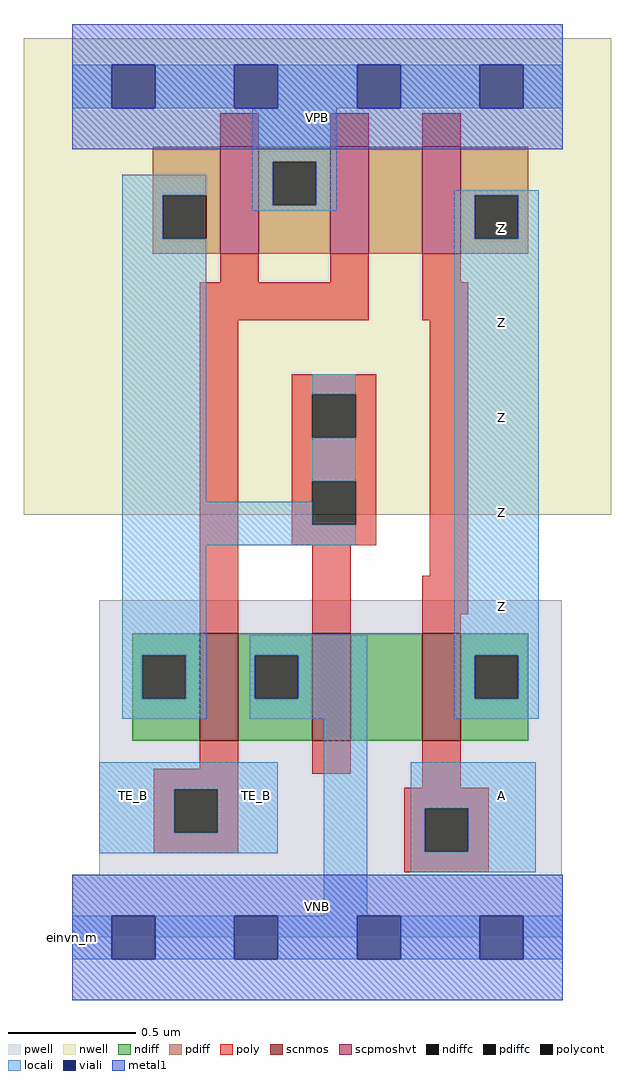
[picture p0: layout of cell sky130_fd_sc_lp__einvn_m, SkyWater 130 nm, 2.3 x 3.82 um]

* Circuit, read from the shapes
.subckt sky130_fd_sc_lp__einvn_m A TE_B VGND VNB VPB VPWR Z
XM1 VGND TE_B n1 VNB sky130_fd_pr__nfet_01v8 w=0.42 l=0.15
XM2 n2 n1 VGND VNB sky130_fd_pr__nfet_01v8 w=0.42 l=0.15
XM3 Z A n2 VNB sky130_fd_pr__nfet_01v8 w=0.42 l=0.15
XM4 VPWR TE_B n1 VPB sky130_fd_pr__pfet_01v8_hvt w=0.42 l=0.15
XM5 n3 TE_B VPWR VPB sky130_fd_pr__pfet_01v8_hvt w=0.42 l=0.15
XM6 Z A n3 VPB sky130_fd_pr__pfet_01v8_hvt w=0.42 l=0.15
.ends

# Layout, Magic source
magic
tech sky130A
magscale 1 2
<< nwell >>
rect -38 331 422 704
<< pwell >>
rect 21 49 383 264
rect 0 0 384 49
<< scnmos >>
rect 100 154 130 238
rect 188 154 218 238
rect 274 154 304 238
<< scpmoshvt >>
rect 116 535 146 619
rect 202 535 232 619
rect 274 535 304 619
<< ndiff >>
rect 47 221 100 238
rect 47 187 55 221
rect 89 187 100 221
rect 47 154 100 187
rect 130 221 188 238
rect 130 187 143 221
rect 177 187 188 221
rect 130 154 188 187
rect 218 154 274 238
rect 304 221 357 238
rect 304 187 315 221
rect 349 187 357 221
rect 304 154 357 187
<< pdiff >>
rect 63 581 116 619
rect 63 547 71 581
rect 105 547 116 581
rect 63 535 116 547
rect 146 607 202 619
rect 146 573 157 607
rect 191 573 202 607
rect 146 535 202 573
rect 232 535 274 619
rect 304 581 357 619
rect 304 547 315 581
rect 349 547 357 581
rect 304 535 357 547
<< ndiffc >>
rect 55 187 89 221
rect 143 187 177 221
rect 315 187 349 221
<< pdiffc >>
rect 71 547 105 581
rect 157 573 191 607
rect 315 547 349 581
<< poly >>
rect 116 619 146 645
rect 202 619 232 645
rect 274 619 304 645
rect 116 513 146 535
rect 202 513 232 535
rect 100 483 232 513
rect 274 513 304 535
rect 274 483 310 513
rect 100 238 130 483
rect 172 425 238 441
rect 172 391 188 425
rect 222 391 238 425
rect 172 357 238 391
rect 172 323 188 357
rect 222 323 238 357
rect 172 307 238 323
rect 188 238 218 307
rect 280 283 310 483
rect 274 253 310 283
rect 274 238 304 253
rect 100 132 130 154
rect 64 116 130 132
rect 188 128 218 154
rect 274 117 304 154
rect 64 82 80 116
rect 114 82 130 116
rect 64 66 130 82
rect 260 101 326 117
rect 260 67 276 101
rect 310 67 326 101
rect 260 51 326 67
<< polycont >>
rect 188 391 222 425
rect 188 323 222 357
rect 80 82 114 116
rect 276 67 310 101
<< locali >>
rect 0 649 31 683
rect 65 649 127 683
rect 161 649 223 683
rect 257 649 319 683
rect 353 649 384 683
rect 141 607 207 649
rect 39 581 105 597
rect 39 547 71 581
rect 141 573 157 607
rect 191 573 207 607
rect 141 569 207 573
rect 299 581 365 585
rect 39 341 105 547
rect 299 547 315 581
rect 349 547 365 581
rect 188 425 222 441
rect 188 357 222 391
rect 39 323 188 341
rect 39 307 222 323
rect 39 221 105 307
rect 39 187 55 221
rect 89 187 105 221
rect 39 171 105 187
rect 139 221 231 237
rect 139 187 143 221
rect 177 187 231 221
rect 139 171 231 187
rect 299 221 365 547
rect 299 187 315 221
rect 349 187 365 221
rect 299 171 365 187
rect 21 116 161 137
rect 21 82 80 116
rect 114 82 161 116
rect 21 66 161 82
rect 197 17 231 171
rect 265 101 363 137
rect 265 67 276 101
rect 310 67 363 101
rect 265 51 363 67
rect 0 -17 31 17
rect 65 -17 127 17
rect 161 -17 223 17
rect 257 -17 319 17
rect 353 -17 384 17
<< viali >>
rect 31 649 65 683
rect 127 649 161 683
rect 223 649 257 683
rect 319 649 353 683
rect 31 -17 65 17
rect 127 -17 161 17
rect 223 -17 257 17
rect 319 -17 353 17
<< metal1 >>
rect 0 683 384 715
rect 0 649 31 683
rect 65 649 127 683
rect 161 649 223 683
rect 257 649 319 683
rect 353 649 384 683
rect 0 617 384 649
rect 0 17 384 49
rect 0 -17 31 17
rect 65 -17 127 17
rect 161 -17 223 17
rect 257 -17 319 17
rect 353 -17 384 17
rect 0 -49 384 -17
<< labels >>
flabel pwell s 0 0 384 49 0 FreeSans 200 0 0 0 VNB
port 4 nsew ground bidirectional
flabel nwell s 0 617 384 666 0 FreeSans 200 0 0 0 VPB
port 5 nsew power bidirectional
rlabel comment s 0 0 0 0 4 einvn_m
flabel metal1 s 0 617 384 666 0 FreeSans 340 0 0 0 VPWR
port 6 nsew power bidirectional
flabel metal1 s 0 0 384 49 0 FreeSans 340 0 0 0 VGND
port 3 nsew ground bidirectional
flabel locali s 319 94 353 128 0 FreeSans 340 0 0 0 A
port 1 nsew signal input
flabel locali s 31 94 65 128 0 FreeSans 340 0 0 0 TE_B
port 2 nsew signal input
flabel locali s 127 94 161 128 0 FreeSans 340 0 0 0 TE_B
port 2 nsew signal input
flabel locali s 319 242 353 276 0 FreeSans 340 0 0 0 Z
port 7 nsew signal output
flabel locali s 319 316 353 350 0 FreeSans 340 0 0 0 Z
port 7 nsew signal output
flabel locali s 319 390 353 424 0 FreeSans 340 0 0 0 Z
port 7 nsew signal output
flabel locali s 319 464 353 498 0 FreeSans 340 0 0 0 Z
port 7 nsew signal output
flabel locali s 319 538 353 572 0 FreeSans 340 0 0 0 Z
port 7 nsew signal output
<< properties >>
string LEFsite unit
string LEFclass CORE
string FIXED_BBOX 0 0 384 666
string GDS_FILE $PDKPATH/libs.ref/sky130_fd_sc_lp/gds/sky130_fd_sc_lp.gds
string LEFsymmetry X Y R90
string GDS_END 4213298
string GDS_START 4208736
<< end >>
